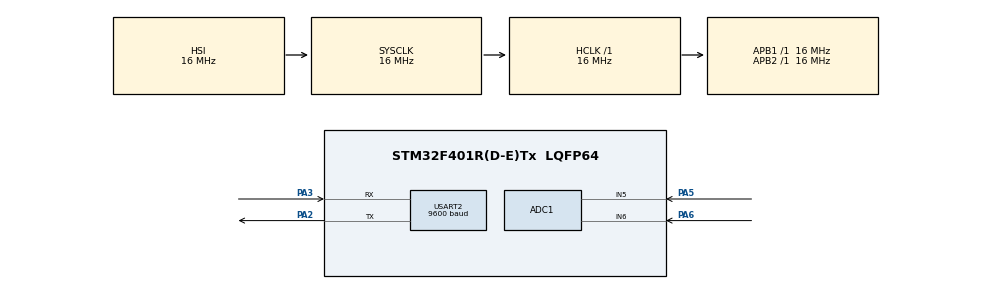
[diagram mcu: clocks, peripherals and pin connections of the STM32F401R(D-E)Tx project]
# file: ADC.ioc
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ADC1.Channel-5\#ChannelRegularConversion=ADC_CHANNEL_5
ADC1.Channel-6\#ChannelRegularConversion=ADC_CHANNEL_6
ADC1.ContinuousConvMode=DISABLE
ADC1.EOCSelection=ADC_EOC_SINGLE_CONV
ADC1.NbrOfConversion=2
ADC1.NbrOfConversionFlag=1
ADC1.Rank-5\#ChannelRegularConversion=1
ADC1.Rank-6\#ChannelRegularConversion=2
ADC1.SamplingTime-5\#ChannelRegularConversion=ADC_SAMPLETIME_3CYCLES
ADC1.SamplingTime-6\#ChannelRegularConversion=ADC_SAMPLETIME_15CYCLES
ADC1.ScanConvMode=ENABLE
ADC1.master=1
Dma.ADC1.0.Direction=DMA_PERIPH_TO_MEMORY
Dma.ADC1.0.FIFOMode=DMA_FIFOMODE_DISABLE
Dma.ADC1.0.Instance=DMA2_Stream0
Dma.ADC1.0.MemDataAlignment=DMA_MDATAALIGN_HALFWORD
Dma.ADC1.0.MemInc=DMA_MINC_ENABLE
Dma.ADC1.0.Mode=DMA_CIRCULAR
Dma.ADC1.0.PeriphDataAlignment=DMA_PDATAALIGN_HALFWORD
Dma.ADC1.0.PeriphInc=DMA_PINC_DISABLE
Dma.ADC1.0.Priority=DMA_PRIORITY_LOW
Dma.Request0=ADC1
Mcu.Family=STM32F4
Mcu.Name=STM32F401R(D-E)Tx
Mcu.Package=LQFP64
NVIC.DMA2_Stream0_IRQn=true\:0\:0\:false\:false\:true\:false\:true\:true
NVIC.PriorityGroup=NVIC_PRIORITYGROUP_4
NVIC.TIM1_UP_TIM10_IRQn=true\:15\:0\:false\:false\:true\:false\:true\:true
NVIC.TimeBase=TIM1_UP_TIM10_IRQn
NVIC.TimeBaseIP=TIM1
PA2.Mode=Asynchronous
PA2.Signal=USART2_TX
PA3.Mode=Asynchronous
PA3.Signal=USART2_RX
PA5.Signal=ADCx_IN5
PA6.Signal=ADCx_IN6
PH0\ -\ OSC_IN.Mode=HSE-External-Oscillator
PH0\ -\ OSC_IN.Signal=RCC_OSC_IN
PH1\ -\ OSC_OUT.Mode=HSE-External-Oscillator
PH1\ -\ OSC_OUT.Signal=RCC_OSC_OUT
ProjectManager.HeapSize=0x200
ProjectManager.StackSize=0x400
ProjectManager.TargetToolchain=STM32CubeIDE
RCC.AHBFreq_Value=16000000
RCC.APB1Freq_Value=16000000
RCC.APB1TimFreq_Value=16000000
RCC.APB2Freq_Value=16000000
RCC.APB2TimFreq_Value=16000000
RCC.CortexFreq_Value=16000000
RCC.HCLKFreq_Value=16000000
RCC.HSE_VALUE=8000000
RCC.HSI_VALUE=16000000
RCC.SYSCLKFreq_VALUE=16000000
RCC.VCOOutputFreq_Value=192000000
SH.ADCx_IN5.0=ADC1_IN5,IN5
SH.ADCx_IN6.0=ADC1_IN6,IN6
USART2.BaudRate=9600
USART2.VirtualMode=VM_ASYNC
VP_SYS_VS_tim1.Mode=TIM1
board=custom

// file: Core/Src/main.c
/* USER CODE BEGIN Header */
/**
  ******************************************************************************
  * @file           : main.c
  * @brief          : Main program body
  ******************************************************************************
  * @attention
  *
  * Copyright (c) 2023 STMicroelectronics.
  * All rights reserved.
  *
  * This software is licensed under terms that can be found in the LICENSE file
  * in the root directory of this software component.
  * If no LICENSE file comes with this software, it is provided AS-IS.
  *
  ******************************************************************************
  */
/* USER CODE END Header */
#include "main.h"

/* USER CODE BEGIN Includes */
#include <stdio.h>
#include <string.h>
#include <math.h>
/* USER CODE END Includes */

ADC_HandleTypeDef hadc1;
DMA_HandleTypeDef hdma_adc1;

UART_HandleTypeDef huart2;

void SystemClock_Config(void);
static void MX_GPIO_Init(void);
static void MX_DMA_Init(void);
static void MX_ADC1_Init(void);
static void MX_USART2_UART_Init(void);

/* USER CODE BEGIN 0 */
uint16_t value_adc = 4096; // adc_value
float volts = 0;
char msg[5];
uint16_t adc[2];
uint8_t num1;
/* USER CODE END 0 */

int main(void)
{

  /* MCU Configuration--------------------------------------------------------*/

  /* Reset of all peripherals, Initializes the Flash interface and the Systick. */
  HAL_Init();

  /* Configure the system clock */
  SystemClock_Config();

  /* Initialize all configured peripherals */
  MX_GPIO_Init();
  MX_DMA_Init();
  MX_ADC1_Init();
  MX_USART2_UART_Init();
  /* USER CODE BEGIN 2 */
  HAL_ADC_Start(&hadc1);
  //HAL_ADC_PollForConversion(&hadc1, HAL_MAX_DELAY);
  /* USER CODE END 2 */

  /* Infinite loop */
  while (1)
  {

    /* USER CODE BEGIN 3 */
	/*HAL_ADC_Start(&hadc1);
	HAL_ADC_PollForConversion(&hadc1, HAL_MAX_DELAY);
	value_adc = HAL_ADC_GetValue(&hadc1);
	//Convert to string and print
	sprintf(msg,"%hu\r\n",value_adc);
	HAL_UART_Transmit(&huart2, (uint8_t*)msg, strlen(msg), HAL_MAX_DELAY);
	volts = ((float)value_adc)*330/4096;
	sprintf(msg,"%hu\r\n", (uint16_t)volts);
	HAL_UART_Transmit(&huart2, (uint8_t*)msg, strlen(msg), HAL_MAX_DELAY);*/
	HAL_ADC_Start_DMA(&hadc1, (uint32_t*)adc, 2);
	sprintf(msg,"%hu\r\n", adc[0]);
	HAL_UART_Transmit(&huart2, (uint8_t*)msg, strlen(msg), HAL_MAX_DELAY);
	sprintf(msg,"%hu\r\n", adc[1]);
	HAL_UART_Transmit(&huart2, (uint8_t*)msg, strlen(msg), HAL_MAX_DELAY);
	HAL_Delay(200);
	double tempp, xy = 500 * 2.56 / 1024;
	tempp = (double)((-1481.96) + sqrt(2196200 + (1.8639 - xy) / 0.00000388));

  }
  /* USER CODE END 3 */
}

void SystemClock_Config(void)
{
  RCC_OscInitTypeDef RCC_OscInitStruct = {0};
  RCC_ClkInitTypeDef RCC_ClkInitStruct = {0};

  /** Configure the main internal regulator output voltage
  */
  __HAL_RCC_PWR_CLK_ENABLE();
  __HAL_PWR_VOLTAGESCALING_CONFIG(PWR_REGULATOR_VOLTAGE_SCALE2);

  /** Initializes the RCC Oscillators according to the specified parameters
  * in the RCC_OscInitTypeDef structure.
  */
  RCC_OscInitStruct.OscillatorType = RCC_OSCILLATORTYPE_HSI;
  RCC_OscInitStruct.HSIState = RCC_HSI_ON;
  RCC_OscInitStruct.HSICalibrationValue = RCC_HSICALIBRATION_DEFAULT;
  RCC_OscInitStruct.PLL.PLLState = RCC_PLL_NONE;
  if (HAL_RCC_OscConfig(&RCC_OscInitStruct) != HAL_OK)
  {
    Error_Handler();
  }

  /** Initializes the CPU, AHB and APB buses clocks
  */
  RCC_ClkInitStruct.ClockType = RCC_CLOCKTYPE_HCLK|RCC_CLOCKTYPE_SYSCLK
                              |RCC_CLOCKTYPE_PCLK1|RCC_CLOCKTYPE_PCLK2;
  RCC_ClkInitStruct.SYSCLKSource = RCC_SYSCLKSOURCE_HSI;
  RCC_ClkInitStruct.AHBCLKDivider = RCC_SYSCLK_DIV1;
  RCC_ClkInitStruct.APB1CLKDivider = RCC_HCLK_DIV1;
  RCC_ClkInitStruct.APB2CLKDivider = RCC_HCLK_DIV1;

  if (HAL_RCC_ClockConfig(&RCC_ClkInitStruct, FLASH_LATENCY_0) != HAL_OK)
  {
    Error_Handler();
  }
}

static void MX_ADC1_Init(void)
{

  ADC_ChannelConfTypeDef sConfig = {0};

  /** Configure the global features of the ADC (Clock, Resolution, Data Alignment and number of conversion)
  */
  hadc1.Instance = ADC1;
  hadc1.Init.ClockPrescaler = ADC_CLOCK_SYNC_PCLK_DIV2;
  hadc1.Init.Resolution = ADC_RESOLUTION_12B;
  hadc1.Init.ScanConvMode = ENABLE;
  hadc1.Init.ContinuousConvMode = DISABLE;
  hadc1.Init.DiscontinuousConvMode = DISABLE;
  hadc1.Init.ExternalTrigConvEdge = ADC_EXTERNALTRIGCONVEDGE_NONE;
  hadc1.Init.ExternalTrigConv = ADC_SOFTWARE_START;
  hadc1.Init.DataAlign = ADC_DATAALIGN_RIGHT;
  hadc1.Init.NbrOfConversion = 2;
  hadc1.Init.DMAContinuousRequests = DISABLE;
  hadc1.Init.EOCSelection = ADC_EOC_SINGLE_CONV;
  if (HAL_ADC_Init(&hadc1) != HAL_OK)
  {
    Error_Handler();
  }

  /** Configure for the selected ADC regular channel its corresponding rank in the sequencer and its sample time.
  */
  sConfig.Channel = ADC_CHANNEL_5;
  sConfig.Rank = 1;
  sConfig.SamplingTime = ADC_SAMPLETIME_3CYCLES;
  if (HAL_ADC_ConfigChannel(&hadc1, &sConfig) != HAL_OK)
  {
    Error_Handler();
  }

  /** Configure for the selected ADC regular channel its corresponding rank in the sequencer and its sample time.
  */
  sConfig.Channel = ADC_CHANNEL_6;
  sConfig.Rank = 2;
  sConfig.SamplingTime = ADC_SAMPLETIME_15CYCLES;
  if (HAL_ADC_ConfigChannel(&hadc1, &sConfig) != HAL_OK)
  {
    Error_Handler();
  }

}

static void MX_USART2_UART_Init(void)
{

  huart2.Instance = USART2;
  huart2.Init.BaudRate = 9600;
  huart2.Init.WordLength = UART_WORDLENGTH_8B;
  huart2.Init.StopBits = UART_STOPBITS_1;
  huart2.Init.Parity = UART_PARITY_NONE;
  huart2.Init.Mode = UART_MODE_TX_RX;
  huart2.Init.HwFlowCtl = UART_HWCONTROL_NONE;
  huart2.Init.OverSampling = UART_OVERSAMPLING_16;
  if (HAL_UART_Init(&huart2) != HAL_OK)
  {
    Error_Handler();
  }

}

static void MX_DMA_Init(void)
{

  /* DMA controller clock enable */
  __HAL_RCC_DMA2_CLK_ENABLE();

  /* DMA interrupt init */
  /* DMA2_Stream0_IRQn interrupt configuration */
  HAL_NVIC_SetPriority(DMA2_Stream0_IRQn, 0, 0);
  HAL_NVIC_EnableIRQ(DMA2_Stream0_IRQn);

}

static void MX_GPIO_Init(void)
{

  /* GPIO Ports Clock Enable */
  __HAL_RCC_GPIOH_CLK_ENABLE();
  __HAL_RCC_GPIOA_CLK_ENABLE();

}

void HAL_TIM_PeriodElapsedCallback(TIM_HandleTypeDef *htim)
{
  if (htim->Instance == TIM1) {
    HAL_IncTick();
  }
}

void Error_Handler(void)
{
  __disable_irq();
  while (1)
  {
  }
}
